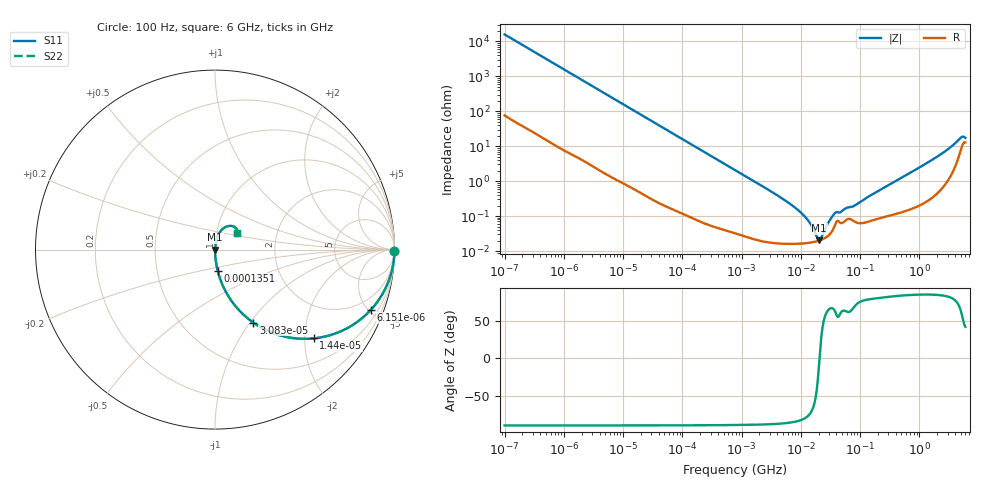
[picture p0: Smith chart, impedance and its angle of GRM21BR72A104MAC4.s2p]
!Murata Part Number: GRM21BR72A104MAC4
!These Parameters are Measured in Series Mode Connection
!Data Generated on Mar 30, 2021
!  o--ll--o
!Port1  Port2
!  o------o
!Operation Temp=25[degC], DC Bias Voltage=0[V]
!Freq. Start=100[Hz] Stop=6[GHz] 401[Steps]
# Hz S RI R 50
!Freq.(Hz) S11(Real) S11(Imag) S21(Real) S21(Imag) S12(Real) S12(Imag) S22(Real) S22(Imag)
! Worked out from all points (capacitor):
!   401 points, 100 Hz to 6 GHz, reference 50 ohm
!   read as one part in series: C = 101 nF near 109 Hz
!   lowest |Z| = 20.1 mohm at 20.35 MHz (marker M1)
!   series resonance near 20.68 MHz, so ESL is about 590 pH
!   S11 on the Smith chart (normalised r, x): 100 Hz: open; 6.151 kHz: 1.03, -5.17; 14.4 kHz: 1.01, -2.21; 30.83 kHz: 1.01, -1.04; 135.1 kHz: 1.00, -0.24; 6 GHz: 1.26, +0.23
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100  0.9999 -0.00637  7.15e-05 0.00637  7.15e-05 0.00637  0.9999 -0.00637
627  0.9982 -0.0396  0.00176 0.0396  0.00176 0.0396  0.9982 -0.0396
2008  0.9836 -0.1246  0.0164 0.1246  0.0164 0.1246  0.9836 -0.1246
6151  0.8685 -0.3354  0.1315 0.3354  0.1315 0.3354  0.8685 -0.3354
14402  0.5503 -0.4947  0.4497 0.4947  0.4497 0.4947  0.5503 -0.4947
30832  0.2132 -0.4067  0.7868 0.4067  0.7868 0.4067  0.2132 -0.4067
40335  0.1374 -0.3413  0.8626 0.3413  0.8626 0.3413  0.1374 -0.3413
135116  0.0148 -0.1171  0.9852 0.1171  0.9852 0.1171  0.0148 -0.1171
774597  0.000759 -0.0209  0.9992 0.0209  0.9992 0.0209  0.000759 -0.0209
6948629  0.000164 -0.00209  0.9998 0.00209  0.9998 0.00209  0.000164 -0.00209
1.137099e7  0.000167 -0.00101  0.9998 0.00101  0.9998 0.00101  0.000167 -0.00101
1.555665e7  0.000178 -0.000461  0.9998 0.000461  0.9998 0.000461  0.000178 -0.000461
1.86079e7  0.00019 -0.00017  0.9998 0.00017  0.9998 0.00017  0.00019 -0.00017
2.035112e7  0.000199 -2.55e-05  0.9998 2.55e-05  0.9998 2.55e-05  0.000199 -2.55e-05
2.225763e7  0.00021 0.00012  0.9998 -0.00012  0.9998 -0.00012  0.00021 0.00012
2.911731e7  0.000275 0.000586  0.9997 -0.000586  0.9997 -0.000586  0.000275 0.000586
3.80911e7  0.000573 0.0011  0.9994 -0.0011  0.9994 -0.0011  0.000573 0.0011
8.154455e7  0.00069 0.00189  0.9993 -0.00189  0.9993 -0.00189  0.00069 0.00189
3.124326e8  0.00109 0.00779  0.9989 -0.00779  0.9989 -0.00779  0.00109 0.00779
1.95892e9  0.0066 0.0483  0.9934 -0.0483  0.9934 -0.0483  0.0066 0.0483
5.016141e9  0.0908 0.1322  0.9092 -0.1322  0.9092 -0.1322  0.0908 0.1322
6e9  0.1229 0.0904  0.8771 -0.0904  0.8771 -0.0904  0.1229 0.0904
